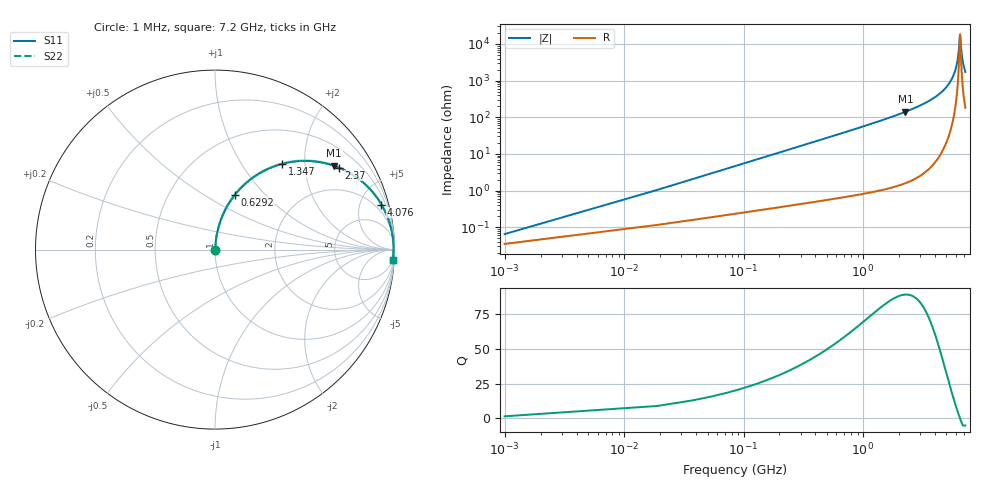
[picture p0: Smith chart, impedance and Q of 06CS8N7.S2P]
! Coilcraft 0603CS-8N7 Chip Inductor
! 21 May 2002
# MHZ S MA R 50
!Freq  MagS11  AngS11  MagS21  AngS21  MagS12  AngS12  MagS22  AngS22
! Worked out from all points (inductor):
!   403 points, 1 MHz to 7.2 GHz, reference 50 ohm
!   read as one part in series: L = 8.7 nH near 36.9 MHz
!   highest Q = 88.8 at 2.263 GHz (marker M1), where L = 9.9 nH
!   self-resonance near 6.481 GHz
!   S11 on the Smith chart (normalised r, x): 1 MHz: 1.00, +0.00; 629.2 MHz: 1.01, +0.69; 1.347 GHz: 1.02, +1.54; 2.37 GHz: 1.03, +2.99; 4.076 GHz: 1.13, +7.35; 7.2 GHz: 5, -34
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1  0.0006489 57.3  0.9996 -0.0  0.9996 -0.0  0.0006489 57.3
54.85  0.02997 84.7  0.9977 -1.7  0.9977 -1.7  0.02997 84.7
90.75  0.0495 84.4  0.9964 -2.8  0.9964 -2.8  0.0495 84.4
126.65  0.06896 83.7  0.9948 -4.0  0.9948 -4.0  0.06896 83.7
306.15  0.1648 79.0  0.9821 -9.5  0.9821 -9.5  0.1648 79.0
629.25  0.3263 69.9  0.9394 -19.0  0.9394 -19.0  0.3263 69.9
1203.65  0.5596 55.2  0.8213 -34.0  0.8213 -34.0  0.5596 55.2
1347.25  0.6062 52.0  0.7876 -37.3  0.7876 -37.3  0.6062 52.0
2262.7  0.8109 35.2  0.5761 -54.2  0.5761 -54.2  0.8109 35.2
2370.4  0.8269 33.6  0.5532 -55.8  0.5532 -55.8  0.8269 33.6
2406.3  0.8319 33.1  0.5456 -56.3  0.5456 -56.3  0.8319 33.1
3608.95  0.9396 19.2  0.3293 -70.0  0.3293 -70.0  0.9396 19.2
4075.65  0.9607 15.2  0.2615 -73.9  0.2615 -73.9  0.9607 15.2
4811.6  0.9812 9.7  0.1684 -78.8  0.1684 -78.8  0.9812 9.7
5529.6  0.9911 5.2  0.09044 -81.8  0.09044 -81.8  0.9911 5.2
6014.25  0.994 2.5  0.0435 -80.8  0.0435 -80.8  0.994 2.5
6265.55  0.9945 1.2  0.02094 -74.2  0.02094 -74.2  0.9945 1.2
6463  0.9946 0.2  0.006159 -27.8  0.006159 -27.8  0.9946 0.2
6498.9  0.9945 -0.0  0.005476 2.2  0.005476 2.2  0.9945 -0.0
6678.4  0.9943 -0.9  0.01646 69.1  0.01646 69.1  0.9943 -0.9
6786.1  0.994 -1.4  0.02509 75.4  0.02509 75.4  0.994 -1.4
7200  0.9922 -3.3  0.05787 80.6  0.05787 80.6  0.9922 -3.3
